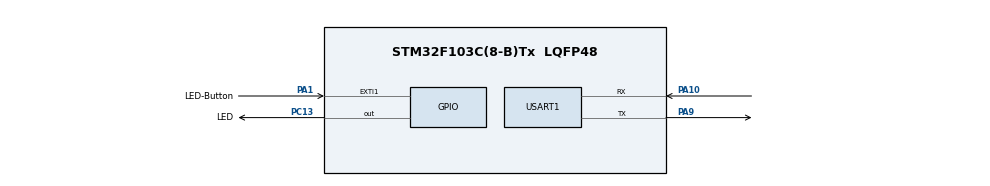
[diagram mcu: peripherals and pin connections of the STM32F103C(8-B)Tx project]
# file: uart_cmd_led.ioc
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Mcu.Family=STM32F1
Mcu.Name=STM32F103C(8-B)Tx
Mcu.Package=LQFP48
NVIC.EXTI1_IRQn=true\:1\:1\:true\:false\:true\:true\:true
NVIC.PriorityGroup=NVIC_PRIORITYGROUP_2
NVIC.USART1_IRQn=true\:0\:0\:false\:false\:true\:true\:true
PA1.GPIO_Label=LED-Button
PA1.GPIO_ModeDefaultEXTI=GPIO_MODE_IT_FALLING
PA1.GPIO_PuPd=GPIO_PULLUP
PA1.Signal=GPXTI1
PA10.Mode=Asynchronous
PA10.Signal=USART1_RX
PA13.Mode=Serial_Wire
PA13.Signal=SYS_JTMS-SWDIO
PA14.Mode=Serial_Wire
PA14.Signal=SYS_JTCK-SWCLK
PA9.Mode=Asynchronous
PA9.Signal=USART1_TX
PC13-TAMPER-RTC.GPIO_Label=LED
PC13-TAMPER-RTC.Signal=GPIO_Output
ProjectManager.HeapSize=0x200
ProjectManager.StackSize=0x400
ProjectManager.TargetToolchain=MDK-ARM V5
RCC.APB1Freq_Value=8000000
RCC.APB2Freq_Value=8000000
USART1.VirtualMode=VM_ASYNC
board=custom

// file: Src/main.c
/* USER CODE BEGIN Header */
/* **************用户-文件说明-开始*******************************************************************/
/**
  ******************************************************************************
  * @file           : main.c
  * @brief          : Main program body
  ******************************************************************************
  * @attention
  *
  * <h2><center>&copy; Copyright (c) 2019 STMicroelectronics.
  * All rights reserved.</center></h2>
  *
  * This software component is licensed by ST under BSD 3-Clause license,
  * the "License"; You may not use this file except in compliance with the
  * License. You may obtain a copy of the License at:
  *                        opensource.org/licenses/BSD-3-Clause
  *
  ******************************************************************************
  */
	/*串口重定向 + 串口命令控制led  */
	/* **************用户-文件说明-结束*******************************************************************/
/* USER CODE END Header */

#include "main.h"
/* USER CODE BEGIN Includes */
/* **************用户-头文件-开始***************************************/
#include "string.h"
#include "stdio.h"//在 stm32f1xx_hal_msp.c 重定向printf
/* **************用户-头文件-结束***************************************/
/* USER CODE END Includes */

UART_HandleTypeDef huart1;

void SystemClock_Config(void);
static void MX_GPIO_Init(void);
static void MX_USART1_UART_Init(void);

/* USER CODE BEGIN 0 */

		uint8_t Rx_Buffer[1];/*接收缓存*/
		uint8_t Tx_Buffer[100];/*发送缓存*/
		uint8_t cmd;
		uint8_t cmd_rec_flag;

	static void Show_Message(void)
{
			printf("\r\n这是一个通过串口控制LED\n");

			printf("指令:\n");
			printf("   指令   ------      状态 \n");
			printf("     1    ------    LED-off\n");
			printf("     2    ------    LED-on\n");

}

/* USER CODE END 0 */

int main(void)
{

  /* MCU Configuration--------------------------------------------------------*/

  /* Reset of all peripherals, Initializes the Flash interface and the Systick. */
  HAL_Init();

  /* Configure the system clock */
  SystemClock_Config();

  /* Initialize all configured peripherals */
  MX_GPIO_Init();
  MX_USART1_UART_Init();
  /* USER CODE BEGIN 2 */

		printf("printf:使用printf重定向 而不是uatr函数发送了\n");
		Show_Message();

	//HAL_UART_Transmit();
	HAL_UART_Receive_IT(&huart1,&cmd,1);//开启命令接收中断

  /* USER CODE END 2 */

  /* Infinite loop */
  /* USER CODE BEGIN WHILE */
  while (1)
  {

	if(cmd_rec_flag==1)
	{
		cmd_rec_flag = 0;
		switch(cmd)
		{
			case '1':
				HAL_GPIO_WritePin(LED_GPIO_Port,LED_Pin,GPIO_PIN_SET);
				break;

			case '2':
				HAL_GPIO_WritePin(LED_GPIO_Port,LED_Pin,GPIO_PIN_RESET);

				break;

			default:

				break;
		}
	}

    /* USER CODE END WHILE */

  }
}

void SystemClock_Config(void)
{
  RCC_OscInitTypeDef RCC_OscInitStruct = {0};
  RCC_ClkInitTypeDef RCC_ClkInitStruct = {0};

  /** Initializes the CPU, AHB and APB busses clocks
  */
  RCC_OscInitStruct.OscillatorType = RCC_OSCILLATORTYPE_HSI;
  RCC_OscInitStruct.HSIState = RCC_HSI_ON;
  RCC_OscInitStruct.HSICalibrationValue = RCC_HSICALIBRATION_DEFAULT;
  RCC_OscInitStruct.PLL.PLLState = RCC_PLL_NONE;
  if (HAL_RCC_OscConfig(&RCC_OscInitStruct) != HAL_OK)
  {
    Error_Handler();
  }
  /** Initializes the CPU, AHB and APB busses clocks
  */
  RCC_ClkInitStruct.ClockType = RCC_CLOCKTYPE_HCLK|RCC_CLOCKTYPE_SYSCLK
                              |RCC_CLOCKTYPE_PCLK1|RCC_CLOCKTYPE_PCLK2;
  RCC_ClkInitStruct.SYSCLKSource = RCC_SYSCLKSOURCE_HSI;
  RCC_ClkInitStruct.AHBCLKDivider = RCC_SYSCLK_DIV1;
  RCC_ClkInitStruct.APB1CLKDivider = RCC_HCLK_DIV1;
  RCC_ClkInitStruct.APB2CLKDivider = RCC_HCLK_DIV1;

  if (HAL_RCC_ClockConfig(&RCC_ClkInitStruct, FLASH_LATENCY_0) != HAL_OK)
  {
    Error_Handler();
  }
}

static void MX_USART1_UART_Init(void)
{

  huart1.Instance = USART1;
  huart1.Init.BaudRate = 115200;
  huart1.Init.WordLength = UART_WORDLENGTH_8B;
  huart1.Init.StopBits = UART_STOPBITS_1;
  huart1.Init.Parity = UART_PARITY_NONE;
  huart1.Init.Mode = UART_MODE_TX_RX;
  huart1.Init.HwFlowCtl = UART_HWCONTROL_NONE;
  huart1.Init.OverSampling = UART_OVERSAMPLING_16;
  if (HAL_UART_Init(&huart1) != HAL_OK)
  {
    Error_Handler();
  }

}

static void MX_GPIO_Init(void)
{
  GPIO_InitTypeDef GPIO_InitStruct = {0};

  /* GPIO Ports Clock Enable */
  __HAL_RCC_GPIOC_CLK_ENABLE();
  __HAL_RCC_GPIOA_CLK_ENABLE();

  /*Configure GPIO pin Output Level */
  HAL_GPIO_WritePin(LED_GPIO_Port, LED_Pin, GPIO_PIN_RESET);

  /*Configure GPIO pin : LED_Pin */
  GPIO_InitStruct.Pin = LED_Pin;
  GPIO_InitStruct.Mode = GPIO_MODE_OUTPUT_PP;
  GPIO_InitStruct.Pull = GPIO_NOPULL;
  GPIO_InitStruct.Speed = GPIO_SPEED_FREQ_LOW;
  HAL_GPIO_Init(LED_GPIO_Port, &GPIO_InitStruct);

  /*Configure GPIO pin : LED_Button_Pin */
  GPIO_InitStruct.Pin = LED_Button_Pin;
  GPIO_InitStruct.Mode = GPIO_MODE_IT_FALLING;
  GPIO_InitStruct.Pull = GPIO_PULLUP;
  HAL_GPIO_Init(LED_Button_GPIO_Port, &GPIO_InitStruct);

  /* EXTI interrupt init*/
  HAL_NVIC_SetPriority(EXTI1_IRQn, 1, 1);
  HAL_NVIC_EnableIRQ(EXTI1_IRQn);

}

/* USER CODE BEGIN 4 */
 void HAL_GPIO_EXTI_Callback(uint16_t GPIO_Pin)
{
	static uint8_t time=0;//按键计数器

	/*LED_Button 中断函数*/
	if(GPIO_Pin==LED_Button_Pin)
	{
		HAL_Delay(100);

		if(HAL_GPIO_ReadPin(LED_Button_GPIO_Port,LED_Button_Pin)== GPIO_PIN_RESET)
		{
			HAL_GPIO_TogglePin(LED_GPIO_Port,LED_Pin);

			HAL_Delay(50);

			printf("Button-on:%d\n",++time);

		}

	}
}
/*接收中断 回调函数*/
 void HAL_UART_RxCpltCallback(UART_HandleTypeDef *huart)
{
	printf("enter:::HAL_UART_RxCpltCallback收到字符:%c\n",cmd);
	 cmd_rec_flag = 1;//使能命令开关
		HAL_UART_Receive_IT(&huart1,&cmd,1);//再次开启接收中断
}

/* USER CODE END 4 */

void Error_Handler(void)
{
}

/************************ (C) COPYRIGHT STMicroelectronics *****END OF FILE****/
